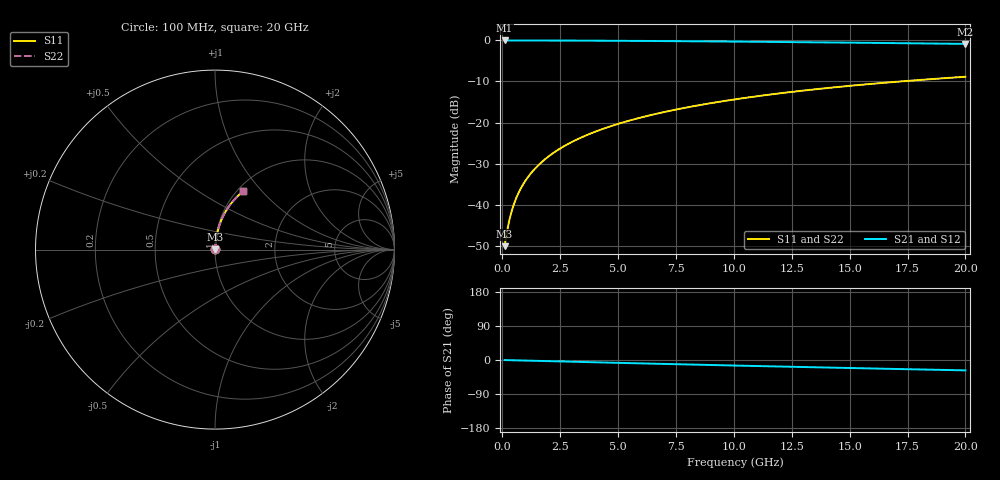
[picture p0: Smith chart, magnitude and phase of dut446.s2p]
! Touchstone file exported from HFSS 2024.1.0
!  File:  C:/UserFiles/LocalFiles/RDL_TSV_Batchsim/temp_RDL_top_446_1779676954.aedt
!  Generated:  10:44:56 AM May 25, 2026
!  Design:  RDL_top
!  Project:  temp_RDL_top_446_1779676954
!  Setup:  Setup1
!  Solution:  Sweep
! Variables:
!  dtsv = 10.80580581um
!  hbump = 3um
!  htsv = 79.59um
!  ldown = 100um
!  lrdl = 281.86um
!  p = 40
!  p1 = 59.98um
!  rhole = 1um
!  t = 450um
!  tdown = 3.915915916um
!  trdl = 3.93um
!  wdown = 15.38538539um
!  wrdl = 10.92um
# GHz S MA R 50.000000
! Terminal data exported
! Port[1] = Box2_T1
! Port[2] = Box2_T2
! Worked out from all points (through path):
!   200 points, 100 MHz to 20 GHz, reference 50 ohm
!   highest |S21| = -0.02 dB at 100 MHz (marker M1); lowest = -0.9 dB at 20 GHz (marker M2)
!   group delay of S21, straight-line fit = 3.79 ps
!   lowest |S11| = -50.1 dB at 100 MHz (marker M3), VSWR 1.01, Z = 50.2 + j0.198 ohm
!   |S11| at or under -10 dB: start of sweep to 17.19 GHz
!   |S22| runs from -50.1 to -8.9 dB; largest |S21 - S12| = 3e-15
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0.1  0.003128 39.1  0.9976 -0.2  0.9976 -0.2  0.003128 39.1
! Gamma 0 0 0 0
! Port Impedance 50 0 50 0
0.2  0.004644 58.0  0.9975 -0.3  0.9975 -0.3  0.004644 58.0
0.3  0.006406 66.9  0.9975 -0.5  0.9975 -0.5  0.006406 66.9
0.4  0.008247 71.8  0.9974 -0.6  0.9974 -0.6  0.008247 71.8
0.5  0.01012 74.8  0.9974 -0.8  0.9974 -0.8  0.01012 74.8
0.6  0.012 76.9  0.9973 -0.9  0.9973 -0.9  0.012 76.9
0.8  0.01579 79.5  0.9971 -1.2  0.9971 -1.2  0.01579 79.5
1.1  0.0215 81.5  0.9969 -1.7  0.9969 -1.7  0.0215 81.5
1.5  0.02914 82.8  0.9964 -2.3  0.9964 -2.3  0.02914 82.8
1.8  0.03489 83.3  0.996 -2.8  0.996 -2.8  0.03489 83.3
2.1  0.04064 83.6  0.9956 -3.2  0.9956 -3.2  0.04064 83.6
2.7  0.05215 83.7  0.9945 -4.1  0.9945 -4.1  0.05215 83.7
3.5  0.06751 83.3  0.9927 -5.3  0.9927 -5.3  0.06751 83.3
4.2  0.08093 82.8  0.9907 -6.3  0.9907 -6.3  0.08093 82.8
5  0.09626 82.1  0.9882 -7.5  0.9882 -7.5  0.09626 82.1
5.9  0.1135 81.2  0.985 -8.8  0.985 -8.8  0.1135 81.2
6.8  0.1306 80.2  0.9815 -10.1  0.9815 -10.1  0.1306 80.2
8.3  0.1589 78.5  0.9749 -12.2  0.9749 -12.2  0.1589 78.5
10.1  0.1924 76.3  0.9661 -14.7  0.9661 -14.7  0.1924 76.3
13.4  0.2519 72.2  0.948 -19.1  0.948 -19.1  0.2519 72.2
16.7  0.3082 68.1  0.9277 -23.3  0.9277 -23.3  0.3082 68.1
20  0.3607 64.2  0.906 -27.3  0.906 -27.3  0.3607 64.2
